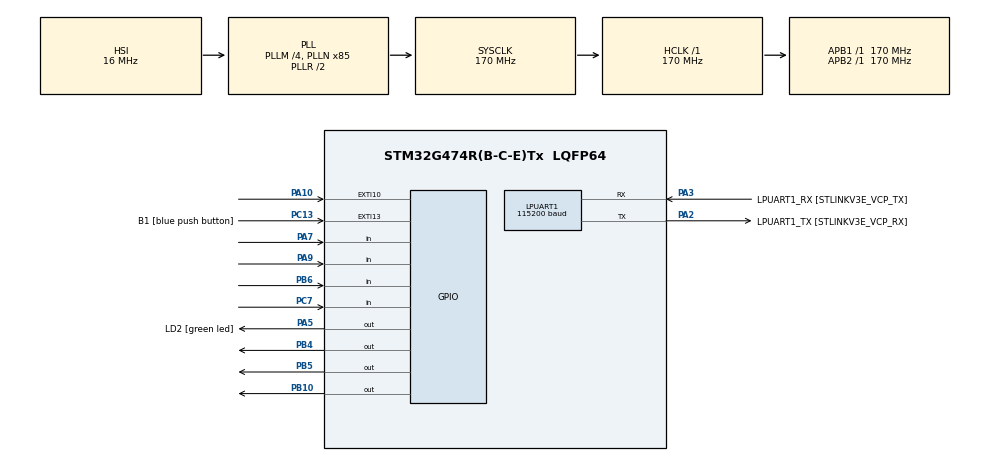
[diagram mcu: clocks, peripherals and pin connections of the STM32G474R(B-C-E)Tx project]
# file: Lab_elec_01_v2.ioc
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LPUART1.BaudRate=115200
LPUART1.WordLength=UART_WORDLENGTH_8B
Mcu.Family=STM32G4
Mcu.Name=STM32G474R(B-C-E)Tx
Mcu.Package=LQFP64
NVIC.EXTI15_10_IRQn=true\:0\:0\:false\:false\:true\:true\:true\:true
NVIC.PriorityGroup=NVIC_PRIORITYGROUP_4
PA10.Signal=GPXTI10
PA13.GPIO_Label=T_SWDIO
PA13.Mode=Serial_Wire
PA13.Signal=SYS_JTMS-SWDIO
PA14.GPIO_Label=T_SWCLK
PA14.Mode=Serial_Wire
PA14.Signal=SYS_JTCK-SWCLK
PA2.GPIO_Label=LPUART1_TX [STLINKV3E_VCP_RX]
PA2.Mode=Asynchronous
PA2.Signal=LPUART1_TX
PA3.GPIO_Label=LPUART1_RX [STLINKV3E_VCP_TX]
PA3.Mode=Asynchronous
PA3.Signal=LPUART1_RX
PA5.GPIO_Label=LD2 [green led]
PA5.Signal=GPIO_Output
PA7.GPIO_Mode=GPIO_MODE_INPUT
PA7.GPIO_PuPd=GPIO_PULLUP
PA7.Signal=GPIO_Input
PA9.GPIO_Mode=GPIO_MODE_INPUT
PA9.GPIO_PuPd=GPIO_PULLUP
PA9.Signal=GPIO_Input
PB10.GPIO_ModeDefaultOutputPP=GPIO_MODE_OUTPUT_OD
PB10.GPIO_PuPd=GPIO_NOPULL
PB10.PinState=GPIO_PIN_SET
PB10.Signal=GPIO_Output
PB3.GPIO_Label=T_SWO
PB3.Signal=SYS_JTDO-SWO
PB4.GPIO_ModeDefaultOutputPP=GPIO_MODE_OUTPUT_OD
PB4.GPIO_PuPd=GPIO_NOPULL
PB4.PinState=GPIO_PIN_SET
PB4.Signal=GPIO_Output
PB5.GPIO_ModeDefaultOutputPP=GPIO_MODE_OUTPUT_OD
PB5.GPIO_PuPd=GPIO_NOPULL
PB5.PinState=GPIO_PIN_SET
PB5.Signal=GPIO_Output
PB6.GPIO_Mode=GPIO_MODE_INPUT
PB6.GPIO_PuPd=GPIO_PULLUP
PB6.Signal=GPIO_Input
PC13.GPIO_Label=B1 [blue push button]
PC13.Signal=GPXTI13
PC14-OSC32_IN.Mode=LSE-External-Oscillator
PC14-OSC32_IN.Signal=RCC_OSC32_IN
PC15-OSC32_OUT.Mode=LSE-External-Oscillator
PC15-OSC32_OUT.Signal=RCC_OSC32_OUT
PC7.GPIO_Mode=GPIO_MODE_INPUT
PC7.GPIO_PuPd=GPIO_PULLUP
PC7.Signal=GPIO_Input
PF0-OSC_IN.Mode=HSE-External-Oscillator
PF0-OSC_IN.Signal=RCC_OSC_IN
PF1-OSC_OUT.Mode=HSE-External-Oscillator
PF1-OSC_OUT.Signal=RCC_OSC_OUT
ProjectManager.HeapSize=0x200
ProjectManager.StackSize=0x400
ProjectManager.TargetToolchain=STM32CubeIDE
RCC.ADC12Freq_Value=170000000
RCC.ADC345Freq_Value=170000000
RCC.AHBFreq_Value=170000000
RCC.APB1Freq_Value=170000000
RCC.APB1TimFreq_Value=170000000
RCC.APB2Freq_Value=170000000
RCC.APB2TimFreq_Value=170000000
RCC.CortexFreq_Value=170000000
RCC.EXTERNAL_CLOCK_VALUE=12288000
RCC.HCLKFreq_Value=170000000
RCC.HSE_VALUE=24000000
RCC.HSI48_VALUE=48000000
RCC.HSI_VALUE=16000000
RCC.PLLM=RCC_PLLM_DIV4
RCC.PLLN=85
RCC.RTCClockSelection=RCC_RTCCLKSOURCE_LSE
RCC.SYSCLKFreq_VALUE=170000000
RCC.SYSCLKSource=RCC_SYSCLKSOURCE_PLLCLK
RCC.USBFreq_Value=170000000
RCC.VCOOutputFreq_Value=340000000
VP_SYS_VS_DBSignals.Mode=DisableDeadBatterySignals
board=NUCLEO-G474RE

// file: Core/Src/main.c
/* USER CODE BEGIN Header */
/**
  ******************************************************************************
  * @file           : main.c
  * @brief          : Main program body
  ******************************************************************************
  * @attention
  *
  * Copyright (c) 2023 STMicroelectronics.
  * All rights reserved.
  *
  * This software is licensed under terms that can be found in the LICENSE file
  * in the root directory of this software component.
  * If no LICENSE file comes with this software, it is provided AS-IS.
  *
  ******************************************************************************
  */
/* USER CODE END Header */
#include "main.h"

UART_HandleTypeDef hlpuart1;

/* USER CODE BEGIN PV */
struct _ButMtx_Struct
{
	GPIO_TypeDef* Port;
	uint16_t Pin;
};

struct _ButMtx_Struct BMX_L[4] = {
		{GPIOA,GPIO_PIN_9},
		{GPIOC,GPIO_PIN_7},
		{GPIOB,GPIO_PIN_6},
		{GPIOA,GPIO_PIN_7}
};

struct _ButMtx_Struct BMX_R[3] = {
		{GPIOB,GPIO_PIN_5},
		{GPIOB,GPIO_PIN_4},
		{GPIOB,GPIO_PIN_10}
};

//int ID[12] = {1000000,0100000,0001000,0010000,0,0100000,0,0,0,0000100,1000000};
uint16_t ButtonState = 0;
int Memo[12] = {0,0,0,0,0,0,0,0,0,0,0,0};
uint8_t j = 0;
uint8_t Check = 1;
int ID[12] = {32,16,256,8,512,16,512,512,512,128,32,2048};
//65340500026//
/* USER CODE END PV */

void SystemClock_Config(void);
static void MX_GPIO_Init(void);
static void MX_LPUART1_UART_Init(void);
/* USER CODE BEGIN PFP */
void ButtonMatrixRead();
/* USER CODE END PFP */

int main(void)
{

  /* MCU Configuration--------------------------------------------------------*/

  /* Reset of all peripherals, Initializes the Flash interface and the Systick. */
  HAL_Init();

  /* Configure the system clock */
  SystemClock_Config();

  /* Initialize all configured peripherals */
  MX_GPIO_Init();
  MX_LPUART1_UART_Init();

  /* Infinite loop */
  while (1)
  {

    /* USER CODE BEGIN 3 */
	  static uint32_t BTMX_TimeStamp = 0;
	  if(HAL_GetTick() > BTMX_TimeStamp)
	  {
		  BTMX_TimeStamp = HAL_GetTick()+50;
		  ButtonMatrixRead();
	  }
  }
  /* USER CODE END 3 */
}

void SystemClock_Config(void)
{
  RCC_OscInitTypeDef RCC_OscInitStruct = {0};
  RCC_ClkInitTypeDef RCC_ClkInitStruct = {0};

  /** Configure the main internal regulator output voltage
  */
  HAL_PWREx_ControlVoltageScaling(PWR_REGULATOR_VOLTAGE_SCALE1_BOOST);

  /** Initializes the RCC Oscillators according to the specified parameters
  * in the RCC_OscInitTypeDef structure.
  */
  RCC_OscInitStruct.OscillatorType = RCC_OSCILLATORTYPE_HSI;
  RCC_OscInitStruct.HSIState = RCC_HSI_ON;
  RCC_OscInitStruct.HSICalibrationValue = RCC_HSICALIBRATION_DEFAULT;
  RCC_OscInitStruct.PLL.PLLState = RCC_PLL_ON;
  RCC_OscInitStruct.PLL.PLLSource = RCC_PLLSOURCE_HSI;
  RCC_OscInitStruct.PLL.PLLM = RCC_PLLM_DIV4;
  RCC_OscInitStruct.PLL.PLLN = 85;
  RCC_OscInitStruct.PLL.PLLP = RCC_PLLP_DIV2;
  RCC_OscInitStruct.PLL.PLLQ = RCC_PLLQ_DIV2;
  RCC_OscInitStruct.PLL.PLLR = RCC_PLLR_DIV2;
  if (HAL_RCC_OscConfig(&RCC_OscInitStruct) != HAL_OK)
  {
    Error_Handler();
  }

  /** Initializes the CPU, AHB and APB buses clocks
  */
  RCC_ClkInitStruct.ClockType = RCC_CLOCKTYPE_HCLK|RCC_CLOCKTYPE_SYSCLK
                              |RCC_CLOCKTYPE_PCLK1|RCC_CLOCKTYPE_PCLK2;
  RCC_ClkInitStruct.SYSCLKSource = RCC_SYSCLKSOURCE_PLLCLK;
  RCC_ClkInitStruct.AHBCLKDivider = RCC_SYSCLK_DIV1;
  RCC_ClkInitStruct.APB1CLKDivider = RCC_HCLK_DIV1;
  RCC_ClkInitStruct.APB2CLKDivider = RCC_HCLK_DIV1;

  if (HAL_RCC_ClockConfig(&RCC_ClkInitStruct, FLASH_LATENCY_4) != HAL_OK)
  {
    Error_Handler();
  }
}

static void MX_LPUART1_UART_Init(void)
{

  hlpuart1.Instance = LPUART1;
  hlpuart1.Init.BaudRate = 115200;
  hlpuart1.Init.WordLength = UART_WORDLENGTH_8B;
  hlpuart1.Init.StopBits = UART_STOPBITS_1;
  hlpuart1.Init.Parity = UART_PARITY_NONE;
  hlpuart1.Init.Mode = UART_MODE_TX_RX;
  hlpuart1.Init.HwFlowCtl = UART_HWCONTROL_NONE;
  hlpuart1.Init.OneBitSampling = UART_ONE_BIT_SAMPLE_DISABLE;
  hlpuart1.Init.ClockPrescaler = UART_PRESCALER_DIV1;
  hlpuart1.AdvancedInit.AdvFeatureInit = UART_ADVFEATURE_NO_INIT;
  if (HAL_UART_Init(&hlpuart1) != HAL_OK)
  {
    Error_Handler();
  }
  if (HAL_UARTEx_SetTxFifoThreshold(&hlpuart1, UART_TXFIFO_THRESHOLD_1_8) != HAL_OK)
  {
    Error_Handler();
  }
  if (HAL_UARTEx_SetRxFifoThreshold(&hlpuart1, UART_RXFIFO_THRESHOLD_1_8) != HAL_OK)
  {
    Error_Handler();
  }
  if (HAL_UARTEx_DisableFifoMode(&hlpuart1) != HAL_OK)
  {
    Error_Handler();
  }

}

static void MX_GPIO_Init(void)
{
  GPIO_InitTypeDef GPIO_InitStruct = {0};

  /* GPIO Ports Clock Enable */
  __HAL_RCC_GPIOC_CLK_ENABLE();
  __HAL_RCC_GPIOF_CLK_ENABLE();
  __HAL_RCC_GPIOA_CLK_ENABLE();
  __HAL_RCC_GPIOB_CLK_ENABLE();

  /*Configure GPIO pin Output Level */
  HAL_GPIO_WritePin(LD2_GPIO_Port, LD2_Pin, GPIO_PIN_RESET);

  /*Configure GPIO pin Output Level */
  HAL_GPIO_WritePin(GPIOB, GPIO_PIN_10|GPIO_PIN_4|GPIO_PIN_5, GPIO_PIN_SET);

  /*Configure GPIO pin : B1_Pin */
  GPIO_InitStruct.Pin = B1_Pin;
  GPIO_InitStruct.Mode = GPIO_MODE_IT_RISING;
  GPIO_InitStruct.Pull = GPIO_NOPULL;
  HAL_GPIO_Init(B1_GPIO_Port, &GPIO_InitStruct);

  /*Configure GPIO pin : LD2_Pin */
  GPIO_InitStruct.Pin = LD2_Pin;
  GPIO_InitStruct.Mode = GPIO_MODE_OUTPUT_PP;
  GPIO_InitStruct.Pull = GPIO_NOPULL;
  GPIO_InitStruct.Speed = GPIO_SPEED_FREQ_LOW;
  HAL_GPIO_Init(LD2_GPIO_Port, &GPIO_InitStruct);

  /*Configure GPIO pins : PA7 PA9 */
  GPIO_InitStruct.Pin = GPIO_PIN_7|GPIO_PIN_9;
  GPIO_InitStruct.Mode = GPIO_MODE_INPUT;
  GPIO_InitStruct.Pull = GPIO_PULLUP;
  HAL_GPIO_Init(GPIOA, &GPIO_InitStruct);

  /*Configure GPIO pins : PB10 PB4 PB5 */
  GPIO_InitStruct.Pin = GPIO_PIN_10|GPIO_PIN_4|GPIO_PIN_5;
  GPIO_InitStruct.Mode = GPIO_MODE_OUTPUT_OD;
  GPIO_InitStruct.Pull = GPIO_NOPULL;
  GPIO_InitStruct.Speed = GPIO_SPEED_FREQ_LOW;
  HAL_GPIO_Init(GPIOB, &GPIO_InitStruct);

  /*Configure GPIO pin : PC7 */
  GPIO_InitStruct.Pin = GPIO_PIN_7;
  GPIO_InitStruct.Mode = GPIO_MODE_INPUT;
  GPIO_InitStruct.Pull = GPIO_PULLUP;
  HAL_GPIO_Init(GPIOC, &GPIO_InitStruct);

  /*Configure GPIO pin : PA10 */
  GPIO_InitStruct.Pin = GPIO_PIN_10;
  GPIO_InitStruct.Mode = GPIO_MODE_IT_RISING;
  GPIO_InitStruct.Pull = GPIO_NOPULL;
  HAL_GPIO_Init(GPIOA, &GPIO_InitStruct);

  /*Configure GPIO pin : PB6 */
  GPIO_InitStruct.Pin = GPIO_PIN_6;
  GPIO_InitStruct.Mode = GPIO_MODE_INPUT;
  GPIO_InitStruct.Pull = GPIO_PULLUP;
  HAL_GPIO_Init(GPIOB, &GPIO_InitStruct);

  /* EXTI interrupt init*/
  HAL_NVIC_SetPriority(EXTI15_10_IRQn, 0, 0);
  HAL_NVIC_EnableIRQ(EXTI15_10_IRQn);

}

/* USER CODE BEGIN 4 */
void HAL_GPIO_EXTI_Callback(uint16_t GPIO_Pin)
{
  if(GPIO_Pin == GPIO_PIN_10)
  {
		HAL_GPIO_WritePin(GPIOA, GPIO_PIN_5,GPIO_PIN_RESET);
		for(int i = 0; i < 12 ;i++){
			Memo[i] = 0;
		}
		j = 0;
		Check = 1;
  }
}

void ButtonMatrixRead(){
	static uint8_t X = 0;

	for(int i = 0; i< 4; i++)
	{
		if(HAL_GPIO_ReadPin(BMX_L[i].Port, BMX_L[i].Pin) == GPIO_PIN_RESET)
		{
			ButtonState |= 1 << (X+(i*3));
			Memo[j] = ButtonState;
			if (Memo[j] != ID[j]){
					Check &= 0;
				}
			j += 1;

		}
		else
		{
			ButtonState &= ~(1 << (X+(i*3)));
		}
	}

	if (Check == 1 && Memo[11] == 2048){
		HAL_GPIO_WritePin(GPIOA, GPIO_PIN_5,GPIO_PIN_SET);
		Check = 3;
	}

	HAL_GPIO_WritePin(BMX_R[X].Port,BMX_R[X].Pin,GPIO_PIN_SET);

	uint8_t nextX = (X+1)%3;
	HAL_GPIO_WritePin(BMX_R[nextX].Port,BMX_R[nextX].Pin,GPIO_PIN_RESET);
	X = nextX;
}
/* USER CODE END 4 */

void Error_Handler(void)
{
  __disable_irq();
  while (1)
  {
  }
}
